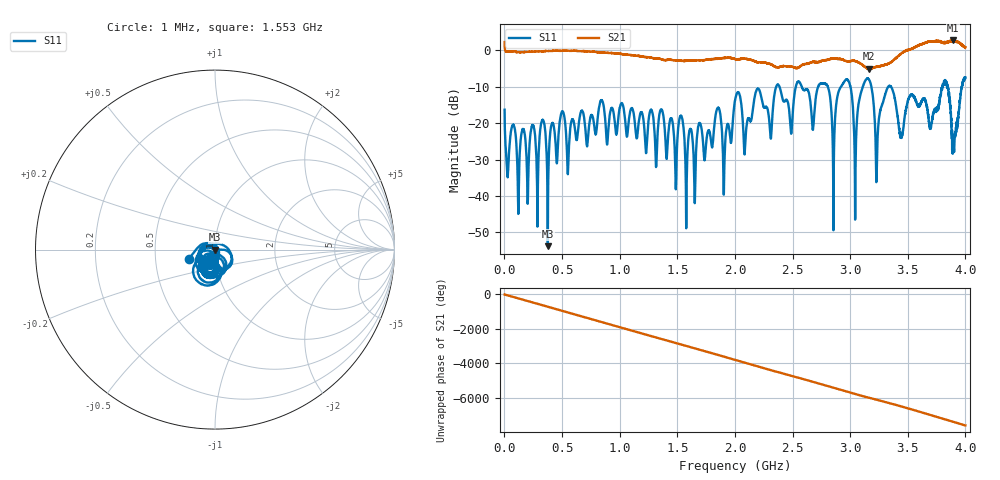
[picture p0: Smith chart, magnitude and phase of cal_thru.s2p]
!Created with skrf (http://scikit-rf.org).
# GHz S RI R 50.0
!freq ReS11 ImS11 ReS21 ImS21 ReS12 ImS12 ReS22 ImS22
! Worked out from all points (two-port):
!   4000 points, 1 MHz to 4 GHz, reference 50 ohm
!   highest |S21| = 2.71 dB at 3.889 GHz (marker M1); lowest = -5.1 dB at 3.162 GHz (marker M2)
!   |S21| within 3 dB of the highest: 325 MHz to 713.8 MHz (388.8 MHz wide, 74.9 % of centre); 3.474 GHz to end of sweep (the widest 2 of 41)
!   lowest |S11| = -53.8 dB at 376 MHz (marker M3), VSWR 1.00, Z = 50.2 - j0.0689 ohm
!   |S11| at or under -10 dB: start of sweep to 2.358 GHz; 3.184 GHz to 3.33 GHz (146 MHz wide, 4.48 % of centre); 3.355 GHz to 3.799 GHz (444 MHz wide, 12.4 % of centre) (the widest 3 of 13)
!   S12 and S22 are empty: the file has one direction only
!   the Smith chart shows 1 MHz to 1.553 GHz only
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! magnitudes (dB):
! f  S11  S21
! 1 MHz  -16.3  2.3
! 121 MHz  -43.3  -0.5
! 333 MHz  -19.1  -0.3
! 376 MHz  -53.8  -0.2
! 668 MHz  -16.7  -0.2
! 1.334 GHz  -20.5  -2.3
! 1.651 GHz  -42.0  -2.8
! 1.854 GHz  -15.7  -2.3
! 1.907 GHz  -33.4  -2.1
! 2.001 GHz  -13.8  -2.4
! 2.667 GHz  -18.5  -3.3
! 2.791 GHz  -9.3  -2.7
! 2.857 GHz  -34.0  -2.2
! 2.974 GHz  -8.1  -3.1
! 3.047 GHz  -31.4  -3.0
! 3.162 GHz  -8.0  -5.1
! 3.232 GHz  -30.7  -4.5
! 3.334 GHz  -9.9  -3.7
! 3.442 GHz  -23.9  -0.9
! 3.829 GHz  -9.2  2.0
! 3.889 GHz  -24.8  2.7
! 4 GHz  -7.5  0.9
